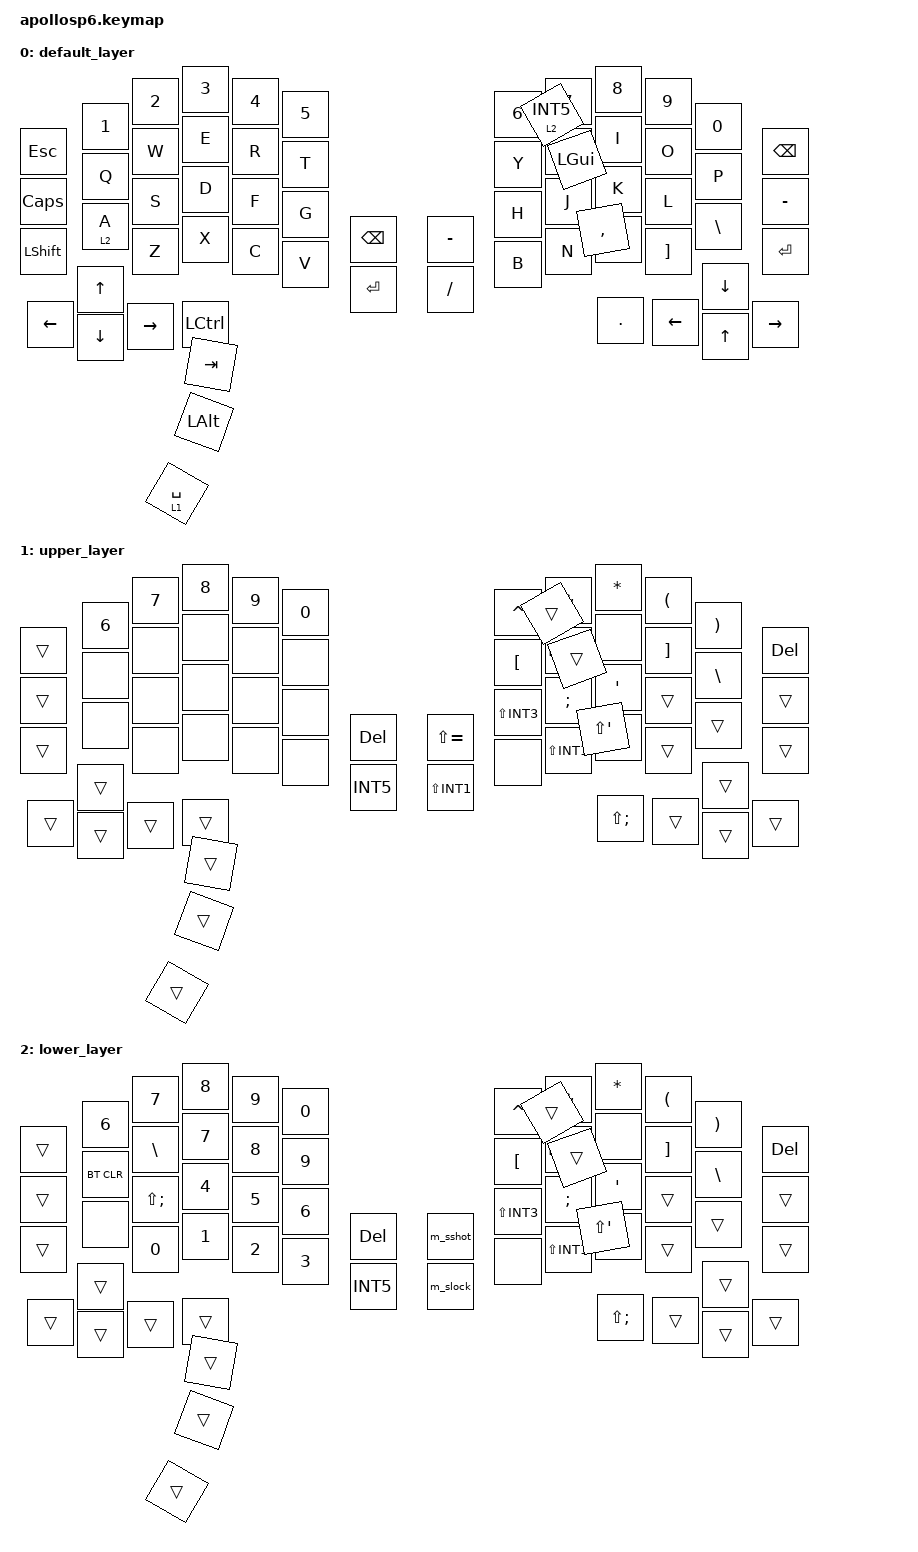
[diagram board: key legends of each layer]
#include <behaviors.dtsi>
#include <dt-bindings/zmk/keys.h>
#include <dt-bindings/zmk/bt.h>
#include <dt-bindings/zmk/outputs.h>
#include <dt-bindings/zmk/pointing.h>
#define ZMK_POINTING_DEFAULT_SCRL_VAL 100


/ {
        macros {
                // 画面ショット (Shift + Win + S)
                m_sshot: m_sshot {
                        compatible = "zmk,behavior-macro";
                        #binding-cells = <0>;
                        bindings
                                = <&macro_press &kp LSHFT &kp LGUI>
                                , <&macro_tap &kp S>
                                , <&macro_release &kp LSHFT &kp LGUI>;
                };

                // 画面ロック (Ctrl + Alt + Del)
                m_slock: m_slock {
                        compatible = "zmk,behavior-macro";
                        #binding-cells = <0>;
                        bindings
                                = <&macro_press &kp LCTRL &kp LALT>
                                , <&macro_tap &kp DEL>
                                , <&macro_release &kp LCTRL &kp LALT>;
                };
        };


        combos {
                compatible = "zmk,combos";
                // 1 + Q で BT0
                combo_bt0 {
                    timeout-ms = <50>;
                    key-positions = <0 11>;
                    bindings = <&bt BT_SEL 0>;
                    layers = <1>;
                };

                // 2 + W で BT1
                combo_bt1 {
                    timeout-ms = <50>;
                    key-positions = <1 12>;
                    bindings = <&bt BT_SEL 1>;
                    layers = <1>;
                };

                // 3 + E で BT2
                combo_bt2 {
                    timeout-ms = <50>;
                    key-positions = <2 13>;
                    bindings = <&bt BT_SEL 2>;
                    layers = <1>;
                };

                // 4 + R で BT3
                combo_bt3 {
                    timeout-ms = <50>;
                    key-positions = <3 14>;
                    bindings = <&bt BT_SEL 3>;
                    layers = <1>;
                };
        };


/* 
 * ============================================================================
 *  JIS (Japanese) Layout Symbol Mapping with Modifiers for ZMK
 *  OS側が日本語配列(JIS)設定の時に、目的の記号を1つのキーで出すための設定
 *  参考: https://v0-3-branch.zmk.dev/docs/keymaps/list-of-keycodes#modifiers
 * ============================================================================
 *  Desired Symbol    ┃ ZMK Binding       ┃ Original Key on JIS Layout
 * -------------------┃-------------------┃------------------------------------
 *  ! (exclamation)   ┃ &kp LS(N1)        ┃ Shift + 1
 *  " (double quote)  ┃ &kp LS(N2)        ┃ Shift + 2
 *  # (hash / sharp)  ┃ &kp LS(N3)        ┃ Shift + 3
 *  $ (dollar)        ┃ &kp LS(N4)        ┃ Shift + 4
 *  % (percent)       ┃ &kp LS(N5)        ┃ Shift + 5
 *  & (ampersand)     ┃ &kp LS(N6)        ┃ Shift + 6
 *  ' (single quote)  ┃ &kp LS(N7)        ┃ Shift + 7
 *  ( (paren open)    ┃ &kp LS(N8)        ┃ Shift + 8
 *  ) (paren close)   ┃ &kp LS(N9)        ┃ Shift + 9
 *  ~ (tilde)         ┃ &kp LS(EQUAL)     ┃ Shift + ^
 *  ┃ (pipe)          ┃ &kp LS(INT3)      ┃ Shift + ￥
 *  + (plus)          ┃ &kp LS(SEMI)      ┃ Shift + ;
 *  * (asterisk)      ┃ &kp LS(SQT)       ┃ Shift + :
 *  < (less than)     ┃ &kp LS(COMMA)     ┃ Shift + ,
 *  > (greater than)  ┃ &kp LS(DOT)       ┃ Shift + .
 *  ? (question)      ┃ &kp LS(SLASH)     ┃ Shift + /
 *  _ (underscore)    ┃ &kp LS(INT1)      ┃ Shift + ろ
 *  { (brace open)    ┃ &kp LS(RBKT)      ┃ Shift + ]  (JISでの物理位置)
 *  } (brace close)   ┃ &kp LS(BSLH)      ┃ Shift + \  (JISでの物理位置)
 * -------------------┃-------------------┃------------------------------------
 *  Shift不要の記号    ┃ ZMK Binding       ┃ Note
 * -------------------┃-------------------┃------------------------------------
 *  @ (at mark)       ┃ &kp LBKT          ┃ [ のキー
 *  [ (bracket open)  ┃ &kp RBKT          ┃ ] のキー
 *  ] (bracket close) ┃ &kp BSLH          ┃ \ のキー
 *  ^ (caret)         ┃ &kp EQUAL         ┃ ^ のキー
 *  : (colon)         ┃ &kp SQT           ┃ : のキー
 *  ; (semicolon)     ┃ &kp SEMI          ┃ ; のキー
 *  \                 ┃ &kp INT1          ┃ 円マーク
 *  '                 ┃ &kp AMPS          ┃ '
 * ============================================================================
 */

    keymap {
        compatible = "zmk,keymap";

        // レイヤー0: 基本レイヤー
        default_layer {
            bindings = <
                           &kp N1   &kp N2    &kp N3     &kp N4     &kp N5                                                       &kp N6     &kp N7   &kp N8    &kp N9     &kp N0
                &kp ESC    &kp Q    &kp W     &kp E      &kp R      &kp T                                                        &kp Y      &kp U    &kp I     &kp O      &kp P     &kp BSPC
                &kp CAPS   &lt 2 A  &kp S     &kp D      &kp F      &kp G     &kp BSPC                                &kp MINUS  &kp H      &kp J    &kp K     &kp L      &kp BSLH  &kp MINUS
                &kp LSHFT           &kp Z     &kp X      &kp C      &kp V     &kp ENTER                               &kp SLASH  &kp B      &kp N    &kp M     &kp RBKT             &kp ENTER
                &kp LEFT   &kp UP   &kp DOWN  &kp RIGHT  &kp LCTRL  &kp TAB   &kp LALT   &lt 1 SPACE      &lt 2 INT5  &kp LGUI   &kp COMMA  &kp DOT  &kp LEFT  &kp UP     &kp DOWN  &kp RIGHT
            >;
        };

        // レイヤー1: Upper
        upper_layer {
            bindings = <
                        &kp N6  &kp N7  &kp N8  &kp N9  &kp N0                                                &kp CARET     &kp AMPS      &kp ASTRK   &kp LPAR  &kp RPAR 
                &trans  &none   &none   &none   &none   &none                                                 &kp LBKT      &kp INT1      &none       &kp RBKT  &kp BSLH  &kp DEL
                &trans  &none   &none   &none   &none   &none   &kp DEL                        &kp LS(EQUAL)  &kp LS(INT3)  &kp SEMI      &kp SQT     &trans    &trans    &trans
                &trans          &none   &none   &none   &none   &kp INT5                       &kp LS(INT1)   &none         &kp LS(INT1)  &trans      &trans              &trans
                &trans  &trans  &trans  &trans  &trans  &trans  &trans    &trans      &trans   &trans         &kp LS(SQT)   &kp LS(SEMI)  &trans      &trans    &trans    &trans
            >;
        };

        // レイヤー2: Lower
        lower_layer {
            bindings = <
                        &kp N6      &kp N7        &kp N8  &kp N9  &kp N0                                            &kp CARET     &kp AMPS      &kp ASTRK   &kp LPAR  &kp RPAR 
                &trans  &bt BT_CLR  &kp BSLH      &kp N7  &kp N8  &kp N9                                             &kp LBKT      &kp INT1      &none       &kp RBKT  &kp BSLH  &kp DEL
                &trans  &none       &kp LS(SEMI)  &kp N4  &kp N5  &kp N6  &kp DEL                        &m_sshot   &kp LS(INT3)  &kp SEMI      &kp SQT     &trans    &trans    &trans
                &trans              &kp N0        &kp N1  &kp N2  &kp N3  &kp INT5                       &m_slock   &none         &kp LS(INT1)  &trans      &trans              &trans
                &trans  &trans      &trans        &trans  &trans  &trans  &trans    &trans      &trans   &trans     &kp LS(SQT)   &kp LS(SEMI)  &trans      &trans    &trans    &trans
            >;
        };
    };
};
